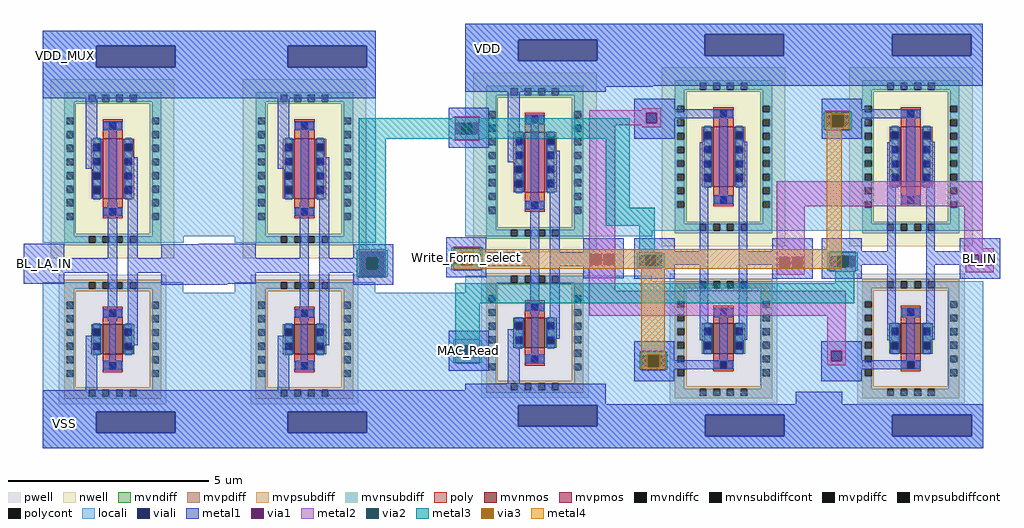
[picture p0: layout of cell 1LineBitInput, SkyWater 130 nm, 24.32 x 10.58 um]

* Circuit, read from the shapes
.subckt 1LineBitInput VDD VDD_MUX VSS BL_LA_IN Write_Form_select BL_IN MAC_Read
XM1 x3/x2/Vin BL_LA_IN VSS VSS sky130_fd_pr__nfet_g5v0d10v5 w=0.75 l=0.5
XM2 x2/A x3/x2/Vin VSS VSS sky130_fd_pr__nfet_g5v0d10v5 w=0.75 l=0.5
XM3 x2/x2/SN Write_Form_select VSS VSS sky130_fd_pr__nfet_g5v0d10v5 w=0.75 l=0.5
XM4 BL_IN Write_Form_select x2/A VSS sky130_fd_pr__nfet_g5v0d10v5 w=0.75 l=0.5
XM5 BL_IN x2/x2/SN MAC_Read VSS sky130_fd_pr__nfet_g5v0d10v5 w=0.75 l=0.5
XM6 x3/x2/Vin BL_LA_IN VDD_MUX VDD_MUX sky130_fd_pr__pfet_g5v0d10v5 w=1.5 l=0.5
XM7 x2/A x3/x2/Vin VDD_MUX VDD_MUX sky130_fd_pr__pfet_g5v0d10v5 w=1.5 l=0.5
XM8 x2/x2/SN Write_Form_select VDD VDD sky130_fd_pr__pfet_g5v0d10v5 w=1.5 l=0.5
XM9 BL_IN x2/x2/SN x2/A VDD sky130_fd_pr__pfet_g5v0d10v5 w=1.5 l=0.5
XM10 BL_IN Write_Form_select MAC_Read VDD sky130_fd_pr__pfet_g5v0d10v5 w=1.5 l=0.5
.ends

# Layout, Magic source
magic
tech sky130B
magscale 1 2
<< locali >>
rect 6112 3160 6620 3934
<< metal1 >>
rect 4478 5018 4678 5218
rect 6582 5050 6782 5250
rect 4372 3980 4572 4180
rect 6030 4139 6184 4142
rect 6030 4023 6049 4139
rect 6165 4023 6184 4139
rect 6030 4020 6184 4023
rect 6476 4012 6676 4212
rect 9036 4006 9236 4206
rect 6488 3546 6688 3746
rect 4476 3184 4676 3384
rect 6122 3160 6570 3450
<< via1 >>
rect 6049 4023 6165 4139
<< metal2 >>
rect 6040 4139 6174 4152
rect 6040 4023 6049 4139
rect 6165 4023 6174 4139
rect 6040 4010 6174 4023
<< via2 >>
rect 6079 4053 6135 4109
<< metal3 >>
rect 6040 4702 6632 4804
rect 6040 4147 6174 4702
rect 6030 4109 6184 4147
rect 6030 4053 6079 4109
rect 6135 4053 6184 4109
rect 6030 4015 6184 4053
use 2-1MUX  x2
transform 1 0 7412 0 1 2560
box -936 600 1824 2716
use Buffer  x3
transform 1 0 2514 0 1 1800
box 1858 1360 3698 3442
<< labels >>
flabel metal1 s 6582 5050 6782 5250 0 FreeSans 320 0 0 0 VDD
port 1 nsew
flabel metal1 s 4478 5018 4678 5218 0 FreeSans 320 0 0 0 VDD_MUX
port 2 nsew
flabel metal1 s 4476 3184 4676 3384 0 FreeSans 320 0 0 0 VSS
port 3 nsew
flabel metal1 s 4372 3980 4572 4180 0 FreeSans 320 0 0 0 BL_LA_IN
port 4 nsew
flabel metal1 s 6476 4012 6676 4212 0 FreeSans 320 0 0 0 Write_Form_select
port 5 nsew
flabel metal1 s 9036 4006 9236 4206 0 FreeSans 320 0 0 0 BL_IN
port 6 nsew
flabel metal1 s 6488 3546 6688 3746 0 FreeSans 320 0 0 0 MAC_Read
port 7 nsew
<< end >>

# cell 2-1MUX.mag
magic
tech sky130B
magscale 1 2
<< locali >>
rect -842 2714 90 2716
rect -140 2403 90 2714
rect -185 2376 94 2403
rect -140 1656 90 2376
rect 804 1684 1034 2716
rect -142 900 88 1460
rect -142 820 100 900
rect -142 632 88 820
rect -842 600 88 632
rect 806 600 1026 1432
<< metal1 >>
rect -842 2714 94 2716
rect -830 2490 -630 2690
rect -140 2403 94 2714
rect 800 2406 1056 2716
rect -924 2219 -724 2298
rect -924 2167 -891 2219
rect -839 2167 -827 2219
rect -775 2167 -724 2219
rect 32 2273 144 2284
rect 32 2221 62 2273
rect 114 2221 144 2273
rect 32 2210 144 2221
rect 946 2258 1084 2272
rect 946 2206 957 2258
rect 1009 2206 1021 2258
rect 1073 2206 1084 2258
rect 946 2192 1084 2206
rect -924 2098 -724 2167
rect -936 1570 -736 1652
rect -936 1518 -890 1570
rect -838 1518 -826 1570
rect -774 1518 -736 1570
rect -936 1452 -736 1518
rect -232 1567 -84 1590
rect -232 1515 -216 1567
rect -164 1515 -152 1567
rect -100 1515 -84 1567
rect -232 1492 -84 1515
rect 14 1563 152 1568
rect 14 1511 25 1563
rect 77 1511 89 1563
rect 141 1511 152 1563
rect 14 1506 152 1511
rect 702 1551 862 1576
rect 702 1499 724 1551
rect 776 1499 788 1551
rect 840 1499 862 1551
rect 702 1474 862 1499
rect 964 1557 1114 1572
rect 964 1505 981 1557
rect 1033 1505 1045 1557
rect 1097 1505 1114 1557
rect 964 1490 1114 1505
rect 1624 1565 1824 1644
rect 1624 1513 1666 1565
rect 1718 1513 1730 1565
rect 1782 1513 1824 1565
rect 1624 1444 1824 1513
rect -924 1109 -724 1186
rect -924 1057 -887 1109
rect -835 1057 -823 1109
rect -771 1057 -724 1109
rect 954 1086 1066 1096
rect -924 986 -724 1057
rect 28 1062 166 1076
rect 28 1010 39 1062
rect 91 1010 103 1062
rect 155 1010 166 1062
rect 954 1034 984 1086
rect 1036 1034 1066 1086
rect 954 1024 1066 1034
rect 28 996 166 1010
rect -832 656 -632 856
rect -142 820 -140 882
rect -142 632 88 820
rect -842 600 88 632
rect 806 600 1038 882
<< via1 >>
rect -891 2167 -839 2219
rect -827 2167 -775 2219
rect 62 2221 114 2273
rect 957 2206 1009 2258
rect 1021 2206 1073 2258
rect -890 1518 -838 1570
rect -826 1518 -774 1570
rect -216 1515 -164 1567
rect -152 1515 -100 1567
rect 25 1511 77 1563
rect 89 1511 141 1563
rect 724 1499 776 1551
rect 788 1499 840 1551
rect 981 1505 1033 1557
rect 1045 1505 1097 1557
rect 1666 1513 1718 1565
rect 1730 1513 1782 1565
rect -887 1057 -835 1109
rect -823 1057 -771 1109
rect 39 1010 91 1062
rect 103 1010 155 1062
rect 984 1034 1036 1086
<< metal2 >>
rect 42 2284 134 2294
rect -222 2273 134 2284
rect -894 2221 -772 2254
rect -894 2219 -861 2221
rect -805 2219 -772 2221
rect -894 2167 -891 2219
rect -775 2167 -772 2219
rect -894 2165 -861 2167
rect -805 2165 -772 2167
rect -894 2132 -772 2165
rect -222 2221 62 2273
rect 114 2221 134 2273
rect -222 2210 134 2221
rect -900 1572 -764 1604
rect -844 1570 -820 1572
rect -838 1518 -826 1570
rect -844 1516 -820 1518
rect -900 1484 -764 1516
rect -222 1567 -94 2210
rect 42 2200 134 2210
rect 956 2260 1074 2282
rect 956 2258 987 2260
rect 1043 2258 1074 2260
rect 956 2206 957 2258
rect 1073 2206 1074 2258
rect 956 2204 987 2206
rect 1043 2204 1074 2206
rect 956 2182 1074 2204
rect 712 1806 1738 1930
rect -222 1515 -216 1567
rect -164 1515 -152 1567
rect -100 1515 -94 1567
rect -222 1384 -94 1515
rect 24 1565 142 1578
rect 24 1563 55 1565
rect 111 1563 142 1565
rect 24 1511 25 1563
rect 141 1511 142 1563
rect 24 1509 55 1511
rect 111 1509 142 1511
rect 24 1496 142 1509
rect 712 1551 852 1806
rect 1646 1596 1738 1806
rect 712 1499 724 1551
rect 776 1499 788 1551
rect 840 1499 852 1551
rect 712 1464 852 1499
rect 974 1559 1104 1582
rect 974 1557 1011 1559
rect 1067 1557 1104 1559
rect 974 1505 981 1557
rect 1097 1505 1104 1557
rect 1646 1565 1794 1596
rect 1646 1546 1666 1565
rect 974 1503 1011 1505
rect 1067 1503 1104 1505
rect 974 1480 1104 1503
rect 1654 1513 1666 1546
rect 1718 1513 1730 1565
rect 1782 1513 1794 1565
rect 1654 1478 1794 1513
rect -222 1260 1056 1384
rect -890 1111 -768 1144
rect -890 1109 -857 1111
rect -801 1109 -768 1111
rect -890 1057 -887 1109
rect -771 1057 -768 1109
rect 964 1086 1056 1260
rect -890 1055 -857 1057
rect -801 1055 -768 1057
rect -890 1022 -768 1055
rect 38 1064 156 1086
rect 38 1062 69 1064
rect 125 1062 156 1064
rect 38 1010 39 1062
rect 155 1010 156 1062
rect 964 1034 984 1086
rect 1036 1034 1056 1086
rect 964 1014 1056 1034
rect 38 1008 69 1010
rect 125 1008 156 1010
rect 38 986 156 1008
<< via2 >>
rect -861 2219 -805 2221
rect -861 2167 -839 2219
rect -839 2167 -827 2219
rect -827 2167 -805 2219
rect -861 2165 -805 2167
rect -900 1570 -844 1572
rect -820 1570 -764 1572
rect -900 1518 -890 1570
rect -890 1518 -844 1570
rect -820 1518 -774 1570
rect -774 1518 -764 1570
rect -900 1516 -844 1518
rect -820 1516 -764 1518
rect 987 2258 1043 2260
rect 987 2206 1009 2258
rect 1009 2206 1021 2258
rect 1021 2206 1043 2258
rect 987 2204 1043 2206
rect 55 1563 111 1565
rect 55 1511 77 1563
rect 77 1511 89 1563
rect 89 1511 111 1563
rect 55 1509 111 1511
rect 1011 1557 1067 1559
rect 1011 1505 1033 1557
rect 1033 1505 1045 1557
rect 1045 1505 1067 1557
rect 1011 1503 1067 1505
rect -857 1109 -801 1111
rect -857 1057 -835 1109
rect -835 1057 -823 1109
rect -823 1057 -801 1109
rect -857 1055 -801 1057
rect 69 1062 125 1064
rect 69 1010 91 1062
rect 91 1010 103 1062
rect 103 1010 125 1062
rect 69 1008 125 1010
<< metal3 >>
rect 946 2264 1084 2277
rect -904 2244 -762 2249
rect -904 2221 -22 2244
rect -904 2165 -861 2221
rect -805 2165 -22 2221
rect 946 2200 983 2264
rect 1047 2200 1084 2264
rect 946 2187 1084 2200
rect -904 2142 -22 2165
rect -904 2137 -762 2142
rect -142 1798 -22 2142
rect -142 1710 104 1798
rect -910 1576 -754 1599
rect -910 1572 -864 1576
rect -800 1572 -754 1576
rect 26 1573 104 1710
rect -910 1516 -900 1572
rect -764 1516 -754 1572
rect -910 1512 -864 1516
rect -800 1512 -754 1516
rect -910 1489 -754 1512
rect 14 1565 152 1573
rect 14 1509 55 1565
rect 111 1509 152 1565
rect 14 1501 152 1509
rect 964 1559 1114 1577
rect 964 1503 1011 1559
rect 1067 1503 1114 1559
rect 964 1485 1114 1503
rect 1004 1422 1098 1485
rect -890 1324 1098 1422
rect -890 1139 -768 1324
rect -900 1111 -758 1139
rect -900 1055 -857 1111
rect -801 1055 -758 1111
rect -900 1027 -758 1055
rect 28 1068 166 1081
rect 28 1004 65 1068
rect 129 1004 166 1068
rect 28 991 166 1004
<< via3 >>
rect 983 2260 1047 2264
rect 983 2204 987 2260
rect 987 2204 1043 2260
rect 1043 2204 1047 2260
rect 983 2200 1047 2204
rect -864 1572 -800 1576
rect -864 1516 -844 1572
rect -844 1516 -820 1572
rect -820 1516 -800 1572
rect -864 1512 -800 1516
rect 65 1064 129 1068
rect 65 1008 69 1064
rect 69 1008 125 1064
rect 125 1008 129 1064
rect 65 1004 129 1008
<< metal4 >>
rect 955 2264 1075 2273
rect 955 2200 983 2264
rect 1047 2200 1075 2264
rect 955 2191 1075 2200
rect -901 1592 -763 1595
rect 960 1592 1036 2191
rect -901 1576 1036 1592
rect -901 1512 -864 1576
rect -800 1512 1036 1576
rect -901 1494 1036 1512
rect -901 1493 -763 1494
rect 36 1077 154 1494
rect 36 1068 157 1077
rect 36 1026 65 1068
rect 37 1004 65 1026
rect 129 1004 157 1068
rect 37 995 157 1004
use TransmissionGate  x1
transform 1 0 -126 0 1 180
box 126 420 1016 2536
use TransmissionGate  x2
transform 1 0 808 0 1 180
box 126 420 1016 2536
use Inverter  x3
transform 1 0 -1832 0 1 1076
box 896 -444 1780 1638
<< labels >>
flabel metal1 s -830 2490 -630 2690 0 FreeSans 320 0 0 0 VDD
port 1 nsew
flabel metal1 s -936 1452 -736 1652 0 FreeSans 320 0 0 0 S
port 2 nsew
flabel metal1 s -924 2098 -724 2298 0 FreeSans 320 0 0 0 A
port 3 nsew
flabel metal1 s 1624 1444 1824 1644 0 FreeSans 320 0 0 0 OUT
port 4 nsew
flabel metal1 s -924 986 -724 1186 0 FreeSans 320 0 0 0 B
port 5 nsew
flabel metal1 s -832 656 -632 856 0 FreeSans 320 0 0 0 VSS
port 6 nsew
<< end >>

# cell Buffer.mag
magic
tech sky130B
<< locali >>
rect 1327 1553 1454 1721
rect 1326 1209 1454 1553
rect 1326 680 1454 1067
<< metal1 >>
rect 982 1609 1082 1709
rect 1327 1552 1454 1721
rect 929 1090 1029 1190
rect 1365 1088 1436 1190
rect 1749 1088 1849 1188
rect 979 694 1079 794
rect 1326 680 1454 825
use Inverter  x1
transform 1 0 481 0 1 902
box 448 -222 890 819
use Inverter  x2
transform 1 0 959 0 1 902
box 448 -222 890 819
<< labels >>
flabel metal1 s 982 1609 1082 1709 0 FreeSans 160 0 0 0 VDD
port 1 nsew
flabel metal1 s 929 1090 1029 1190 0 FreeSans 160 0 0 0 Vin
port 2 nsew
flabel metal1 s 1749 1088 1849 1188 0 FreeSans 160 0 0 0 Vout
port 3 nsew
flabel metal1 s 979 694 1079 794 0 FreeSans 160 0 0 0 VSS
port 4 nsew
<< end >>

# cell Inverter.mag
magic
tech sky130B
magscale 1 2
<< locali >>
rect 990 1561 1692 1638
rect 990 1455 1255 1561
rect 1649 1455 1692 1561
rect 990 1286 1692 1455
rect 990 584 1146 1286
rect 1534 584 1692 1286
rect 990 580 1112 584
rect 1568 580 1692 584
rect 990 382 1108 384
rect 1568 382 1690 384
rect 990 -186 1146 382
rect 1534 -186 1690 382
rect 990 -261 1690 -186
rect 990 -367 1255 -261
rect 1649 -367 1690 -261
rect 990 -444 1690 -367
<< viali >>
rect 1255 1455 1649 1561
rect 1255 -367 1649 -261
<< metal1 >>
rect 990 1561 1692 1638
rect 990 1455 1255 1561
rect 1649 1455 1692 1561
rect 990 1300 1692 1455
rect 1204 950 1262 1300
rect 1318 780 1358 1178
rect 1438 1004 1462 1006
rect 896 502 1096 576
rect 1314 502 1360 780
rect 896 432 1360 502
rect 896 376 1096 432
rect 1314 192 1360 432
rect 1412 502 1462 1004
rect 1580 502 1780 572
rect 1412 432 1780 502
rect 1204 -154 1262 118
rect 1320 -48 1354 192
rect 1412 70 1462 432
rect 1580 372 1780 432
rect 990 -261 1690 -154
rect 990 -367 1255 -261
rect 1649 -367 1690 -261
rect 990 -444 1690 -367
use sky130_fd_pr__nfet_g5v0d10v5_6XHARQ  XM1
transform 1 0 1338 0 1 99
box -268 -323 268 323
use sky130_fd_pr__pfet_g5v0d10v5_7EBZY6  XM2
transform 1 0 1338 0 1 949
box -308 -447 308 447
<< labels >>
flabel metal1 s 1002 1414 1202 1614 0 FreeSans 320 0 0 0 VDD
port 1 nsew
flabel metal1 s 896 376 1096 576 0 FreeSans 320 0 0 0 Vin
port 2 nsew
flabel metal1 s 1580 372 1780 572 0 FreeSans 320 0 0 0 Vout
port 3 nsew
flabel metal1 s 1000 -420 1200 -220 0 FreeSans 320 0 0 0 VSS
port 4 nsew
<< end >>

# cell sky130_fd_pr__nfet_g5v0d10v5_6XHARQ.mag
magic
tech sky130B
magscale 1 2
<< pwell >>
rect -268 -323 268 323
<< mvnmos >>
rect -50 -75 50 75
<< mvndiff >>
rect -108 51 -50 75
rect -108 17 -96 51
rect -62 17 -50 51
rect -108 -17 -50 17
rect -108 -51 -96 -17
rect -62 -51 -50 -17
rect -108 -75 -50 -51
rect 50 51 108 75
rect 50 17 62 51
rect 96 17 108 51
rect 50 -17 108 17
rect 50 -51 62 -17
rect 96 -51 108 -17
rect 50 -75 108 -51
<< mvndiffc >>
rect -96 17 -62 51
rect -96 -51 -62 -17
rect 62 17 96 51
rect 62 -51 96 -17
<< mvpsubdiff >>
rect -242 285 242 297
rect -242 251 -119 285
rect -85 251 -51 285
rect -17 251 17 285
rect 51 251 85 285
rect 119 251 242 285
rect -242 239 242 251
rect -242 187 -184 239
rect -242 153 -230 187
rect -196 153 -184 187
rect 184 187 242 239
rect -242 119 -184 153
rect -242 85 -230 119
rect -196 85 -184 119
rect -242 51 -184 85
rect 184 153 196 187
rect 230 153 242 187
rect 184 119 242 153
rect 184 85 196 119
rect 230 85 242 119
rect -242 17 -230 51
rect -196 17 -184 51
rect -242 -17 -184 17
rect -242 -51 -230 -17
rect -196 -51 -184 -17
rect -242 -85 -184 -51
rect 184 51 242 85
rect 184 17 196 51
rect 230 17 242 51
rect 184 -17 242 17
rect 184 -51 196 -17
rect 230 -51 242 -17
rect -242 -119 -230 -85
rect -196 -119 -184 -85
rect -242 -153 -184 -119
rect -242 -187 -230 -153
rect -196 -187 -184 -153
rect 184 -85 242 -51
rect 184 -119 196 -85
rect 230 -119 242 -85
rect 184 -153 242 -119
rect -242 -239 -184 -187
rect 184 -187 196 -153
rect 230 -187 242 -153
rect 184 -239 242 -187
rect -242 -251 242 -239
rect -242 -285 -119 -251
rect -85 -285 -51 -251
rect -17 -285 17 -251
rect 51 -285 85 -251
rect 119 -285 242 -251
rect -242 -297 242 -285
<< mvpsubdiffcont >>
rect -119 251 -85 285
rect -51 251 -17 285
rect 17 251 51 285
rect 85 251 119 285
rect -230 153 -196 187
rect -230 85 -196 119
rect 196 153 230 187
rect 196 85 230 119
rect -230 17 -196 51
rect -230 -51 -196 -17
rect 196 17 230 51
rect 196 -51 230 -17
rect -230 -119 -196 -85
rect -230 -187 -196 -153
rect 196 -119 230 -85
rect 196 -187 230 -153
rect -119 -285 -85 -251
rect -51 -285 -17 -251
rect 17 -285 51 -251
rect 85 -285 119 -251
<< poly >>
rect -50 147 50 163
rect -50 113 -17 147
rect 17 113 50 147
rect -50 75 50 113
rect -50 -113 50 -75
rect -50 -147 -17 -113
rect 17 -147 50 -113
rect -50 -163 50 -147
<< polycont >>
rect -17 113 17 147
rect -17 -147 17 -113
<< locali >>
rect -230 251 -119 285
rect -85 251 -51 285
rect -17 251 17 285
rect 51 251 85 285
rect 119 251 230 285
rect -230 187 -196 251
rect -230 119 -196 153
rect 196 187 230 251
rect -50 113 -17 147
rect 17 113 50 147
rect 196 119 230 153
rect -230 51 -196 85
rect -230 -17 -196 17
rect -230 -85 -196 -51
rect -96 53 -62 79
rect -96 -17 -62 17
rect -96 -79 -62 -53
rect 62 53 96 79
rect 62 -17 96 17
rect 62 -79 96 -53
rect 196 51 230 85
rect 196 -17 230 17
rect 196 -85 230 -51
rect -230 -153 -196 -119
rect -50 -147 -17 -113
rect 17 -147 50 -113
rect -230 -251 -196 -187
rect 196 -153 230 -119
rect 196 -251 230 -187
rect -230 -285 -119 -251
rect -85 -285 -51 -251
rect -17 -285 17 -251
rect 51 -285 85 -251
rect 119 -285 230 -251
<< viali >>
rect -17 113 17 147
rect -96 51 -62 53
rect -96 19 -62 51
rect -96 -51 -62 -19
rect -96 -53 -62 -51
rect 62 51 96 53
rect 62 19 96 51
rect 62 -51 96 -19
rect 62 -53 96 -51
rect -17 -147 17 -113
<< metal1 >>
rect -46 147 46 153
rect -46 113 -17 147
rect 17 113 46 147
rect -46 107 46 113
rect -102 53 -56 75
rect -102 19 -96 53
rect -62 19 -56 53
rect -102 -19 -56 19
rect -102 -53 -96 -19
rect -62 -53 -56 -19
rect -102 -75 -56 -53
rect 56 53 102 75
rect 56 19 62 53
rect 96 19 102 53
rect 56 -19 102 19
rect 56 -53 62 -19
rect 96 -53 102 -19
rect 56 -75 102 -53
rect -46 -113 46 -107
rect -46 -147 -17 -113
rect 17 -147 46 -113
rect -46 -153 46 -147
<< properties >>
string FIXED_BBOX -213 -268 213 268
<< end >>

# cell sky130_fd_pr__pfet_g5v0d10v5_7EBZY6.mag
magic
tech sky130B
magscale 1 2
<< nwell >>
rect -308 -447 308 447
<< mvpmos >>
rect -50 -150 50 150
<< mvpdiff >>
rect -108 119 -50 150
rect -108 85 -96 119
rect -62 85 -50 119
rect -108 51 -50 85
rect -108 17 -96 51
rect -62 17 -50 51
rect -108 -17 -50 17
rect -108 -51 -96 -17
rect -62 -51 -50 -17
rect -108 -85 -50 -51
rect -108 -119 -96 -85
rect -62 -119 -50 -85
rect -108 -150 -50 -119
rect 50 119 108 150
rect 50 85 62 119
rect 96 85 108 119
rect 50 51 108 85
rect 50 17 62 51
rect 96 17 108 51
rect 50 -17 108 17
rect 50 -51 62 -17
rect 96 -51 108 -17
rect 50 -85 108 -51
rect 50 -119 62 -85
rect 96 -119 108 -85
rect 50 -150 108 -119
<< mvpdiffc >>
rect -96 85 -62 119
rect -96 17 -62 51
rect -96 -51 -62 -17
rect -96 -119 -62 -85
rect 62 85 96 119
rect 62 17 96 51
rect 62 -51 96 -17
rect 62 -119 96 -85
<< mvnsubdiff >>
rect -242 369 242 381
rect -242 335 -119 369
rect -85 335 -51 369
rect -17 335 17 369
rect 51 335 85 369
rect 119 335 242 369
rect -242 323 242 335
rect -242 255 -184 323
rect -242 221 -230 255
rect -196 221 -184 255
rect 184 255 242 323
rect -242 187 -184 221
rect -242 153 -230 187
rect -196 153 -184 187
rect -242 119 -184 153
rect 184 221 196 255
rect 230 221 242 255
rect 184 187 242 221
rect 184 153 196 187
rect 230 153 242 187
rect -242 85 -230 119
rect -196 85 -184 119
rect -242 51 -184 85
rect -242 17 -230 51
rect -196 17 -184 51
rect -242 -17 -184 17
rect -242 -51 -230 -17
rect -196 -51 -184 -17
rect -242 -85 -184 -51
rect -242 -119 -230 -85
rect -196 -119 -184 -85
rect -242 -153 -184 -119
rect 184 119 242 153
rect 184 85 196 119
rect 230 85 242 119
rect 184 51 242 85
rect 184 17 196 51
rect 230 17 242 51
rect 184 -17 242 17
rect 184 -51 196 -17
rect 230 -51 242 -17
rect 184 -85 242 -51
rect 184 -119 196 -85
rect 230 -119 242 -85
rect -242 -187 -230 -153
rect -196 -187 -184 -153
rect -242 -221 -184 -187
rect -242 -255 -230 -221
rect -196 -255 -184 -221
rect 184 -153 242 -119
rect 184 -187 196 -153
rect 230 -187 242 -153
rect 184 -221 242 -187
rect -242 -323 -184 -255
rect 184 -255 196 -221
rect 230 -255 242 -221
rect 184 -323 242 -255
rect -242 -335 242 -323
rect -242 -369 -119 -335
rect -85 -369 -51 -335
rect -17 -369 17 -335
rect 51 -369 85 -335
rect 119 -369 242 -335
rect -242 -381 242 -369
<< mvnsubdiffcont >>
rect -119 335 -85 369
rect -51 335 -17 369
rect 17 335 51 369
rect 85 335 119 369
rect -230 221 -196 255
rect -230 153 -196 187
rect 196 221 230 255
rect 196 153 230 187
rect -230 85 -196 119
rect -230 17 -196 51
rect -230 -51 -196 -17
rect -230 -119 -196 -85
rect 196 85 230 119
rect 196 17 230 51
rect 196 -51 230 -17
rect 196 -119 230 -85
rect -230 -187 -196 -153
rect -230 -255 -196 -221
rect 196 -187 230 -153
rect 196 -255 230 -221
rect -119 -369 -85 -335
rect -51 -369 -17 -335
rect 17 -369 51 -335
rect 85 -369 119 -335
<< poly >>
rect -50 231 50 247
rect -50 197 -17 231
rect 17 197 50 231
rect -50 150 50 197
rect -50 -197 50 -150
rect -50 -231 -17 -197
rect 17 -231 50 -197
rect -50 -247 50 -231
<< polycont >>
rect -17 197 17 231
rect -17 -231 17 -197
<< locali >>
rect -230 335 -119 369
rect -85 335 -51 369
rect -17 335 17 369
rect 51 335 85 369
rect 119 335 230 369
rect -230 255 -196 335
rect 196 255 230 335
rect -230 187 -196 221
rect -50 197 -17 231
rect 17 197 50 231
rect 196 187 230 221
rect -230 119 -196 153
rect -230 51 -196 85
rect -230 -17 -196 17
rect -230 -85 -196 -51
rect -230 -153 -196 -119
rect -96 125 -62 154
rect -96 53 -62 85
rect -96 -17 -62 17
rect -96 -85 -62 -53
rect -96 -154 -62 -125
rect 62 125 96 154
rect 62 53 96 85
rect 62 -17 96 17
rect 62 -85 96 -53
rect 62 -154 96 -125
rect 196 119 230 153
rect 196 51 230 85
rect 196 -17 230 17
rect 196 -85 230 -51
rect 196 -153 230 -119
rect -230 -221 -196 -187
rect -50 -231 -17 -197
rect 17 -231 50 -197
rect 196 -221 230 -187
rect -230 -335 -196 -255
rect 196 -335 230 -255
rect -230 -369 -119 -335
rect -85 -369 -51 -335
rect -17 -369 17 -335
rect 51 -369 85 -335
rect 119 -369 230 -335
<< viali >>
rect -17 197 17 231
rect -96 119 -62 125
rect -96 91 -62 119
rect -96 51 -62 53
rect -96 19 -62 51
rect -96 -51 -62 -19
rect -96 -53 -62 -51
rect -96 -119 -62 -91
rect -96 -125 -62 -119
rect 62 119 96 125
rect 62 91 96 119
rect 62 51 96 53
rect 62 19 96 51
rect 62 -51 96 -19
rect 62 -53 96 -51
rect 62 -119 96 -91
rect 62 -125 96 -119
rect -17 -231 17 -197
<< metal1 >>
rect -46 231 46 237
rect -46 197 -17 231
rect 17 197 46 231
rect -46 191 46 197
rect -102 125 -56 150
rect -102 91 -96 125
rect -62 91 -56 125
rect -102 53 -56 91
rect -102 19 -96 53
rect -62 19 -56 53
rect -102 -19 -56 19
rect -102 -53 -96 -19
rect -62 -53 -56 -19
rect -102 -91 -56 -53
rect -102 -125 -96 -91
rect -62 -125 -56 -91
rect -102 -150 -56 -125
rect 56 125 102 150
rect 56 91 62 125
rect 96 91 102 125
rect 56 53 102 91
rect 56 19 62 53
rect 96 19 102 53
rect 56 -19 102 19
rect 56 -53 62 -19
rect 96 -53 102 -19
rect 56 -91 102 -53
rect 56 -125 62 -91
rect 96 -125 102 -91
rect 56 -150 102 -125
rect -46 -197 46 -191
rect -46 -231 -17 -197
rect 17 -231 46 -197
rect -46 -237 46 -231
<< properties >>
string FIXED_BBOX -213 -352 213 352
<< end >>

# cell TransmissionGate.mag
magic
tech sky130B
magscale 1 2
<< locali >>
rect 214 2483 930 2536
rect 214 2377 478 2483
rect 872 2377 930 2483
rect 214 2212 930 2377
rect 214 2156 342 2212
rect 214 2034 356 2156
rect 214 1504 342 2034
rect 802 1504 930 2212
rect 214 702 342 1252
rect 758 702 932 1252
rect 214 587 932 702
rect 214 481 480 587
rect 874 481 932 587
rect 214 420 932 481
<< viali >>
rect 478 2377 872 2483
rect 480 481 874 587
<< metal1 >>
rect 214 2483 930 2536
rect 214 2377 478 2483
rect 872 2377 930 2483
rect 214 2226 930 2377
rect 128 2110 328 2162
rect 128 2064 602 2110
rect 128 1962 328 2064
rect 128 1402 328 1466
rect 454 1402 496 1944
rect 550 1640 594 2064
rect 128 1334 496 1402
rect 128 1266 328 1334
rect 454 958 496 1334
rect 648 1402 690 1948
rect 816 1402 1016 1466
rect 648 1334 1016 1402
rect 126 860 326 954
rect 550 860 592 1112
rect 648 962 690 1334
rect 816 1266 1016 1334
rect 126 814 544 860
rect 126 754 326 814
rect 214 587 932 640
rect 214 481 480 587
rect 874 481 932 587
rect 214 420 932 481
use sky130_fd_pr__nfet_g5v0d10v5_6XHARQ  XM1
transform 1 0 572 0 1 967
box -268 -323 268 323
use sky130_fd_pr__pfet_g5v0d10v5_7EBZY6  XM2
transform 1 0 572 0 1 1873
box -308 -447 308 447
<< labels >>
flabel metal1 s 128 1962 328 2162 0 FreeSans 320 0 0 0 SP
port 1 nsew
flabel metal1 s 228 2328 428 2528 0 FreeSans 320 0 0 0 VDD
port 2 nsew
flabel metal1 s 816 1266 1016 1466 0 FreeSans 320 0 0 0 Out
port 3 nsew
flabel metal1 s 128 1266 328 1466 0 FreeSans 320 0 0 0 In
port 4 nsew
flabel metal1 s 230 432 430 632 0 FreeSans 320 0 0 0 VSS
port 5 nsew
flabel metal1 s 126 754 326 954 0 FreeSans 320 0 0 0 SN
port 6 nsew
<< end >>
